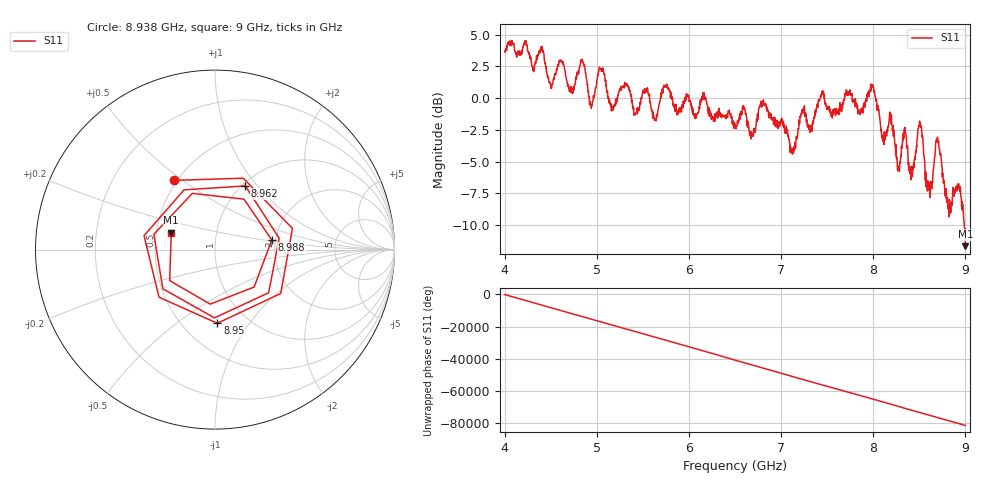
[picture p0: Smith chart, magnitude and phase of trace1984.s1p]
! Created with skrf 1.8.0 (http://scikit-rf.org).
# Hz S RI R 50.0
!freq ReS11 ImS11
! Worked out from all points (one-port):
!   1601 points, 4 GHz to 9 GHz, reference 50 ohm
!   lowest |S11| = -11.7 dB at 9 GHz (marker M1), VSWR 1.71, Z = 29.9 + j6.07 ohm
!   |S11| at or under -10 dB: 8.988716 GHz to end of sweep
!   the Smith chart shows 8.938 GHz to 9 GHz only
!   S11 on the Smith chart (normalised r, x): 8.938 GHz: 0.48, +0.46; 8.95 GHz: 0.73, -0.72; 8.962 GHz: 1.04, +0.87; 8.988 GHz: 1.91, +0.23; 9 GHz: 0.60, +0.12
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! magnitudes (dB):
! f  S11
! 4 GHz  3.7
! 4.503 GHz  0.8
! 4.625 GHz  2.8
! 4.728 GHz  0.6
! 4.847 GHz  2.9
! 4.938 GHz  -0.5
! 5.044 GHz  2.3
! 5.159 GHz  -1.0
! 5.25 GHz  0.7
! 5.875 GHz  -1.0
! 6.5 GHz  -2.2
! 6.822 GHz  -0.5
! 7.125 GHz  -4.1
! 7.231 GHz  -1.1
! 7.75 GHz  0.6
! 7.991 GHz  0.9
! 8.106 GHz  -2.9
! 8.375 GHz  -4.2
! 8.419 GHz  -5.4
! 8.509 GHz  -2.0
! 8.6 GHz  -6.8
! 8.697 GHz  -3.1
! 8.822 GHz  -8.5
! 8.938 GHz  -7.0
! 8.95 GHz  -7.7
! 8.962 GHz  -8.1
! 8.988 GHz  -9.9
! 9 GHz  -11.7
